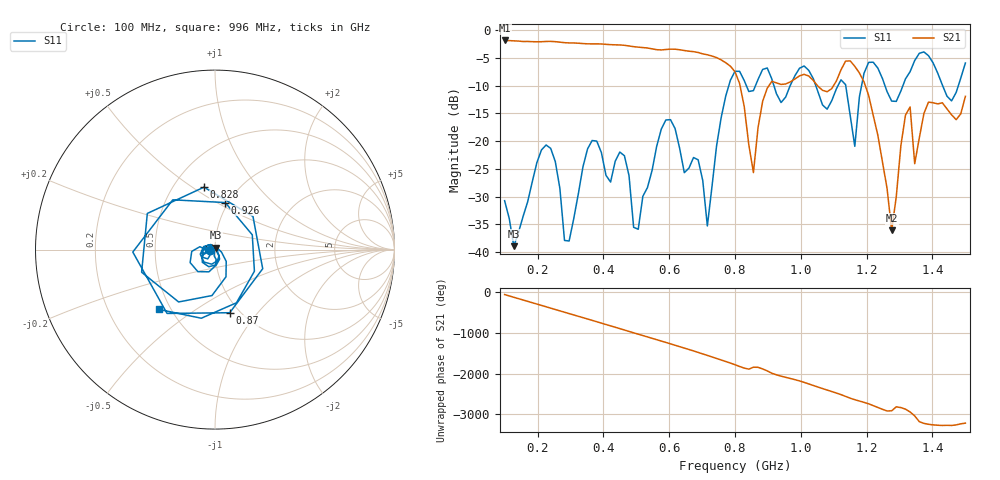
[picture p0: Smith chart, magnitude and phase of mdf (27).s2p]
! NanoVNA-App
! Date: 2025-09-25 15:38:38
! Start: 100MHz Stop: 1,5GHz Points: 101
! S-Parameter data: F S11 S21 S12 S22
# Hz S RI R 50
!  Frequency  S11_Real  S11_Imag  S21_Real  S21_Imag  S12_Real  S12_Imag  S22_Real  S22_Imag
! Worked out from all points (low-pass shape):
!   101 points, 100 MHz to 1.5 GHz, reference 50 ohm
!   highest |S21| = -1.80 dB at 100 MHz (marker M1); lowest = -36.1 dB at 1.276 GHz (marker M2)
!   |S21| within 3 dB of the highest: start of sweep to 739.1 MHz
!   lowest |S11| = -39.0 dB at 128 MHz (marker M3), VSWR 1.02, Z = 50.3 + j1.08 ohm
!   |S11| at or under -10 dB: start of sweep to 781 MHz; 1.046 GHz to 1.113 GHz (67.06 MHz wide, 6.21 % of centre); 1.256 GHz to 1.31 GHz (54.15 MHz wide, 4.22 % of centre) (the widest 3 of 7)
!   S12 and S22 are empty: the file has one direction only
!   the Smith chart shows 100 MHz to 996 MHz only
!   S11 on the Smith chart (normalised r, x): 100 MHz: 0.94, -0.01; 828 MHz: 0.70, +0.56; 870 MHz: 0.90, -0.73; 926 MHz: 0.97, +0.55; 996 MHz: 0.43, -0.36
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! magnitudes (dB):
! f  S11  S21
! 100 MHz  -30.8  -1.8
! 128 MHz  -39.0  -1.9
! 212 MHz  -21.6  -2.0
! 282 MHz  -37.9  -2.2
! 338 MHz  -24.6  -2.4
! 464 MHz  -22.6  -2.7
! 506 MHz  -35.9  -3.0
! 576 MHz  -17.8  -3.5
! 716 MHz  -35.3  -4.4
! 800 MHz  -7.4  -7.5
! 828 MHz  -9.0  -13.7
! 856 MHz  -10.9  -25.7
! 870 MHz  -8.8  -17.6
! 926 MHz  -11.4  -9.5
! 996 MHz  -6.8  -8.2
! 1.038 GHz  -8.7  -9.0
! 1.164 GHz  -20.9  -6.5
! 1.178 GHz  -12.0  -7.7
! 1.276 GHz  -12.8  -36.1
! 1.318 GHz  -8.7  -15.3
! 1.346 GHz  -5.4  -24.1
! 1.5 GHz  -5.9  -11.9
